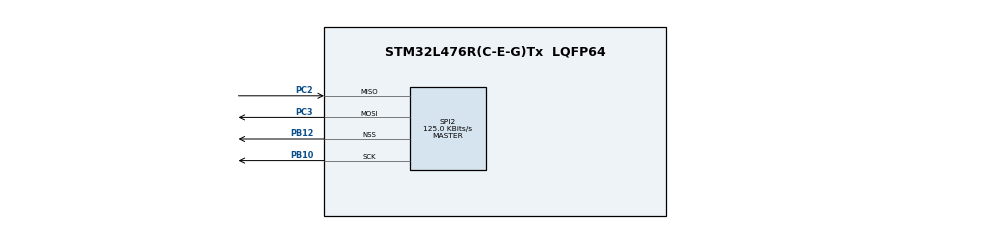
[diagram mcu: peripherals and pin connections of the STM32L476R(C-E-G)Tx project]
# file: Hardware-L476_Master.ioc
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Mcu.Family=STM32L4
Mcu.Name=STM32L476R(C-E-G)Tx
Mcu.Package=LQFP64
NVIC.PriorityGroup=NVIC_PRIORITYGROUP_4
PB10.Mode=Full_Duplex_Master
PB10.Signal=SPI2_SCK
PB12.Mode=NSS_Signal_Hard_Output
PB12.Signal=SPI2_NSS
PC2.Mode=Full_Duplex_Master
PC2.Signal=SPI2_MISO
PC3.Mode=Full_Duplex_Master
PC3.Signal=SPI2_MOSI
ProjectManager.HeapSize=0x200
ProjectManager.StackSize=0x400
ProjectManager.TargetToolchain=MDK-ARM V5.32
RCC.HSE_VALUE=8000000
RCC.HSI_VALUE=16000000
RCC.LSE_VALUE=32768
RCC.MSI_VALUE=4000000
RCC.VCOOutputFreq_Value=32000000
SPI2.BaudRatePrescaler=SPI_BAUDRATEPRESCALER_32
SPI2.CalculateBaudRate=125.0 KBits/s
SPI2.DataSize=SPI_DATASIZE_8BIT
SPI2.Direction=SPI_DIRECTION_2LINES
SPI2.Mode=SPI_MODE_MASTER
SPI2.NSSPMode=SPI_NSS_PULSE_ENABLE
SPI2.VirtualNSS=VM_NSSHARD
SPI2.VirtualType=VM_MASTER
TIM2.Period=9
TIM2.Prescaler=399
VP_TIM2_VS_ClockSourceINT.Mode=Internal
board=custom

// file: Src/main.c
/* USER CODE BEGIN Header */
/**
  ******************************************************************************
  * @file           : main.c
  * @brief          : Main program body
  ******************************************************************************
  * @attention
  *
  * Copyright (c) 2024 STMicroelectronics.
  * All rights reserved.
  *
  * This software is licensed under terms that can be found in the LICENSE file
  * in the root directory of this software component.
  * If no LICENSE file comes with this software, it is provided AS-IS.
  *
  ******************************************************************************
  */
/* USER CODE END Header */
#include "main.h"

/* USER CODE BEGIN PD */
#define ARRAY_SIZE 4
/* USER CODE END PD */

/* USER CODE BEGIN PV */
volatile uint8_t dataTrans[] = {7, 8, 4, 2};
volatile uint8_t receivedData;
volatile uint8_t sentData;
volatile uint8_t counterReceive = 0;
volatile uint8_t counterSend = 0;
volatile uint8_t dummyRead;
/* USER CODE END PV */

void SystemClock_Config(void);
static void MX_GPIO_Init(void);
static void MX_TIM2_Init(void);
static void MX_SPI2_Init(void);
/* USER CODE BEGIN PFP */
void delay_ms(uint32_t timeDelay);
void SPI2_TransmitByte(uint8_t data);
uint8_t SPI2_ReceiveByte(void);
/* USER CODE END PFP */

int main(void)
{

  /* MCU Configuration--------------------------------------------------------*/

  /* Reset of all peripherals, Initializes the Flash interface and the Systick. */
  //_APB2_GRP1_EnableClock(LL_APB2_GRP1_PERIPH_SYSCFG);
  //_APB1_GRP1_EnableClock(LL_APB1_GRP1_PERIPH_PWR);

  /* System interrupt init*/
  //IC_SetPriorityGrouping(NVIC_PRIORITYGROUP_4);

  /* SysTick_IRQn interrupt configuration */
  //IC_SetPriority(SysTick_IRQn, NVIC_EncodePriority(NVIC_GetPriorityGrouping(),15, 0));

  /* Configure the system clock */
  SystemClock_Config();

  /* Initialize all configured peripherals */
  MX_GPIO_Init();
  MX_TIM2_Init();
  MX_SPI2_Init();

  /* Infinite loop */
  while (1)
  {

    /* USER CODE BEGIN 3 */
		counterReceive = 0;
		counterSend = 0;
		receivedData = 0;
		dummyRead = 0;
		delay_ms(2000);
		LL_SPI_Enable(SPI2);
		for (uint8_t i = 0; i < ARRAY_SIZE; i++)
		{
			delay_ms(1000);
      SPI2_TransmitByte(dataTrans[i]);
			counterSend++;
    }
		LL_SPI_Disable(SPI2);
		delay_ms(3000);
		// Command de nhan data tu slave

		LL_SPI_Enable(SPI2);
    while (counterReceive < ARRAY_SIZE)
		{
			SPI2_TransmitByte(0xFF);
			if (receivedData != 0xFF)
			{
				receivedData = SPI2_ReceiveByte();
				counterReceive++;
			}
			delay_ms(1000);
    }
		LL_SPI_Disable(SPI2);

  }
  /* USER CODE END 3 */
}

void SystemClock_Config(void)
{
  LL_FLASH_SetLatency(LL_FLASH_LATENCY_0);
  while(LL_FLASH_GetLatency()!= LL_FLASH_LATENCY_0)
  {
  }
  LL_PWR_SetRegulVoltageScaling(LL_PWR_REGU_VOLTAGE_SCALE1);
  while (LL_PWR_IsActiveFlag_VOS() != 0)
  {
  }
  LL_RCC_MSI_Enable();

   /* Wait till MSI is ready */
  while(LL_RCC_MSI_IsReady() != 1)
  {

  }
  LL_RCC_MSI_EnableRangeSelection();
  LL_RCC_MSI_SetRange(LL_RCC_MSIRANGE_6);
  LL_RCC_MSI_SetCalibTrimming(0);
  LL_RCC_SetSysClkSource(LL_RCC_SYS_CLKSOURCE_MSI);

   /* Wait till System clock is ready */
  while(LL_RCC_GetSysClkSource() != LL_RCC_SYS_CLKSOURCE_STATUS_MSI)
  {

  }
  LL_RCC_SetAHBPrescaler(LL_RCC_SYSCLK_DIV_1);
  LL_RCC_SetAPB1Prescaler(LL_RCC_APB1_DIV_1);
  LL_RCC_SetAPB2Prescaler(LL_RCC_APB2_DIV_1);

  LL_Init1msTick(4000000);

  LL_SetSystemCoreClock(4000000);
}

static void MX_SPI2_Init(void)
{

  LL_SPI_InitTypeDef SPI_InitStruct = {0};

  LL_GPIO_InitTypeDef GPIO_InitStruct = {0};

  /* Peripheral clock enable */
  LL_APB1_GRP1_EnableClock(LL_APB1_GRP1_PERIPH_SPI2);

  LL_AHB2_GRP1_EnableClock(LL_AHB2_GRP1_PERIPH_GPIOC);
  LL_AHB2_GRP1_EnableClock(LL_AHB2_GRP1_PERIPH_GPIOB);
  /**SPI2 GPIO Configuration
  PC2   ------> SPI2_MISO
  PC3   ------> SPI2_MOSI
  PB10   ------> SPI2_SCK
  PB12   ------> SPI2_NSS
  */
  GPIO_InitStruct.Pin = LL_GPIO_PIN_2|LL_GPIO_PIN_3;
  GPIO_InitStruct.Mode = LL_GPIO_MODE_ALTERNATE;
  GPIO_InitStruct.Speed = LL_GPIO_SPEED_FREQ_VERY_HIGH;
  GPIO_InitStruct.OutputType = LL_GPIO_OUTPUT_PUSHPULL;
  GPIO_InitStruct.Pull = LL_GPIO_PULL_NO;
  GPIO_InitStruct.Alternate = LL_GPIO_AF_5;
  LL_GPIO_Init(GPIOC, &GPIO_InitStruct);

  GPIO_InitStruct.Pin = LL_GPIO_PIN_10|LL_GPIO_PIN_12;
  GPIO_InitStruct.Mode = LL_GPIO_MODE_ALTERNATE;
  GPIO_InitStruct.Speed = LL_GPIO_SPEED_FREQ_VERY_HIGH;
  GPIO_InitStruct.OutputType = LL_GPIO_OUTPUT_PUSHPULL;
  GPIO_InitStruct.Pull = LL_GPIO_PULL_NO;
  GPIO_InitStruct.Alternate = LL_GPIO_AF_5;
  LL_GPIO_Init(GPIOB, &GPIO_InitStruct);

  /* SPI2 parameter configuration*/
  SPI_InitStruct.TransferDirection = LL_SPI_FULL_DUPLEX;
  SPI_InitStruct.Mode = LL_SPI_MODE_MASTER;
  SPI_InitStruct.DataWidth = LL_SPI_DATAWIDTH_8BIT;
  SPI_InitStruct.ClockPolarity = LL_SPI_POLARITY_LOW;
  SPI_InitStruct.ClockPhase = LL_SPI_PHASE_1EDGE;
  SPI_InitStruct.NSS = LL_SPI_NSS_HARD_OUTPUT;
  SPI_InitStruct.BaudRate = LL_SPI_BAUDRATEPRESCALER_DIV32;
  SPI_InitStruct.BitOrder = LL_SPI_MSB_FIRST;
  SPI_InitStruct.CRCCalculation = LL_SPI_CRCCALCULATION_DISABLE;
  SPI_InitStruct.CRCPoly = 7;
  LL_SPI_Init(SPI2, &SPI_InitStruct);
  LL_SPI_SetStandard(SPI2, LL_SPI_PROTOCOL_MOTOROLA);
  LL_SPI_EnableNSSPulseMgt(SPI2);

}

static void MX_TIM2_Init(void)
{

  LL_TIM_InitTypeDef TIM_InitStruct = {0};

  /* Peripheral clock enable */
  LL_APB1_GRP1_EnableClock(LL_APB1_GRP1_PERIPH_TIM2);

  TIM_InitStruct.Prescaler = 399;
  TIM_InitStruct.CounterMode = LL_TIM_COUNTERMODE_UP;
  TIM_InitStruct.Autoreload = 9;
  TIM_InitStruct.ClockDivision = LL_TIM_CLOCKDIVISION_DIV1;
  LL_TIM_Init(TIM2, &TIM_InitStruct);
  LL_TIM_DisableARRPreload(TIM2);
  LL_TIM_SetClockSource(TIM2, LL_TIM_CLOCKSOURCE_INTERNAL);
  LL_TIM_SetTriggerOutput(TIM2, LL_TIM_TRGO_RESET);
  LL_TIM_DisableMasterSlaveMode(TIM2);
  /* USER CODE BEGIN TIM2_Init 2 */
	LL_TIM_EnableCounter(TIM2);
  /* USER CODE END TIM2_Init 2 */

}

static void MX_GPIO_Init(void)
{

  /* GPIO Ports Clock Enable */
  LL_AHB2_GRP1_EnableClock(LL_AHB2_GRP1_PERIPH_GPIOC);
  LL_AHB2_GRP1_EnableClock(LL_AHB2_GRP1_PERIPH_GPIOB);

}

/* USER CODE BEGIN 4 */
void delay_ms(uint32_t timeDelay)
{
    for (uint32_t i = 0; i < timeDelay; i++)
    {
        LL_TIM_SetCounter(TIM2, 0);
			  LL_TIM_EnableCounter(TIM2);
        while (!LL_TIM_IsActiveFlag_UPDATE(TIM2));
        LL_TIM_ClearFlag_UPDATE(TIM2);
    }
}

/* Gui 1 byte du lieu tu Master cho Slave */
void SPI2_TransmitByte(uint8_t data)
{
    // Keo chan NSS xuong de bat dau qua trinh truyen
    //LL_GPIO_ResetOutputPin(GPIOB, LL_GPIO_PIN_12); // NSS la chan PB12

    // Doi cho den khi TX buffer trong (TXE flag duoc set)
    while (!LL_SPI_IsActiveFlag_TXE(SPI2));

	  sentData = data;
    // Gui 1 byte du lieu
    LL_SPI_TransmitData8(SPI2, data);

    // Doi cho den khi byte duoc truyen xong (BSY flag duoc reset)
    while (LL_SPI_IsActiveFlag_BSY(SPI2));

		//while (!LL_SPI_IsActiveFlag_RXNE(SPI2));
		//dummyRead = LL_SPI_ReceiveData8(SPI2);

    // Keo chan NSS len de ket thuc qua trinh truyen
    //LL_GPIO_SetOutputPin(GPIOB, LL_GPIO_PIN_12);  // NSS lа chвn PB12
}

uint8_t SPI2_ReceiveByte(void)
{
    uint8_t receivedDataTemp = 0x00u;

	  // Keo chan NSS xuong de bat dau qua trinh truyen
    //LL_GPIO_ResetOutputPin(GPIOB, LL_GPIO_PIN_12);  // NSS la chan PB12

    // Doi cho den khi co du lieu nhan duoc (RXNE flag duoc set)
    while (!LL_SPI_IsActiveFlag_RXNE(SPI2));

    // Doc du lieu nhan duoc tu SPI
    receivedDataTemp = LL_SPI_ReceiveData8(SPI2);

		while (LL_SPI_IsActiveFlag_BSY(SPI2));

    // Keo chan NSS len de ket thuc qua trinh nhan
    //LL_GPIO_SetOutputPin(GPIOB, LL_GPIO_PIN_12);  // NSS lа chвn PB12

		return receivedDataTemp;
}
/* USER CODE END 4 */

void Error_Handler(void)
{
  __disable_irq();
  while (1)
  {
  }
}
